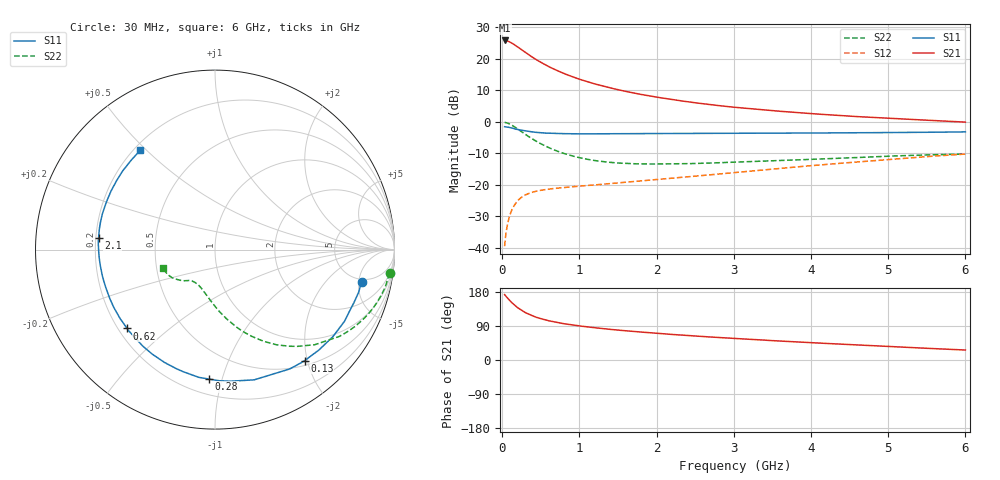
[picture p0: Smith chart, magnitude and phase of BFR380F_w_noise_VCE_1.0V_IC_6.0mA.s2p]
! Infineon Technologies  Discrete & RF Semiconductors
! BFR380F
! VCE =  1.0 V,  IC =  6.0 mA
! Common Emitter S-Parameters:  Nov 2015
# GHz  S  MA  R  50
!  f  S11  S21  S12  S22
! GHz  MAG  ANG  MAG  ANG  MAG  ANG  MAG  ANG
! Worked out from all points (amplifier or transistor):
!   206 points, 30 MHz to 6 GHz, reference 50 ohm
!   highest |S21| = 25.8 dB at 30 MHz (marker M1)
!   |S21| within 3 dB of that: start of sweep to 253.4 MHz
!   unconditionally stable (mu >= 1): 1.987 GHz to end of sweep
!   at 200 MHz: K = 0.16, MSG = 24.4 dB, |S12| = -25.0 dB
!   at 1.56 GHz: K = 0.89, MSG = 14.6 dB, |S12| = -19.3 dB
!   at 6 GHz: K = 1.01, MAG = 4.6 dB, |S12| = -10.2 dB
!   lowest NFmin = 0.78 dB at 900 MHz
!   S11 on the Smith chart (normalised r, x): 30 MHz: 4.57, -5.46; 130 MHz: 0.58, -1.95; 280 MHz: 0.30, -0.91; 620 MHz: 0.24, -0.36; 2.1 GHz: 0.21, +0.05; 6 GHz: 0.22, +0.48
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0.03  0.8363 -12.4  19.59 172.6  0.0106 83.4  0.9816 -7.7
0.05  0.8285 -21.0  19.52 167.2  0.0178 79.8  0.9704 -12.7
0.07  0.8247 -29.0  19.16 162.7  0.0243 76.0  0.9514 -17.6
0.1  0.8089 -40.4  18.45 156.2  0.0334 70.1  0.9162 -24.5
0.13  0.7954 -51.1  17.57 150.2  0.0415 65.2  0.8745 -30.9
0.15  0.7844 -58.0  17.02 146.3  0.0462 62.3  0.8451 -34.9
0.2  0.7577 -73.3  15.44 137.8  0.0561 55.7  0.7684 -43.6
0.28  0.722 -92.7  13.14 127.4  0.0669 48.2  0.6559 -54.6
0.3  0.7175 -97.2  12.63 124.9  0.0692 46.7  0.6305 -57.2
0.36  0.6977 -107.9  11.22 119.3  0.0742 43.0  0.564 -63.3
0.45  0.6791 -121.1  9.542 112.0  0.0797 39.4  0.4834 -71.1
0.5  0.6714 -126.9  8.775 108.9  0.0819 38.0  0.4471 -74.6
0.62  0.658 -138.1  7.341 102.8  0.086 36.1  0.3807 -81.6
0.8  0.6494 -150.3  5.834 95.7  0.0906 35.3  0.3134 -90.4
1.04  0.6441 -161.1  4.579 88.9  0.0961 36.3  0.2629 -99.2
1.42  0.6454 -172.8  3.406 80.4  0.1049 39.5  0.2258 -110.5
2.02  0.652 175.4  2.443 70.2  0.1214 45.1  0.2141 -121.5
2.1  0.6521 174.1  2.36 69.0  0.1239 45.8  0.2144 -122.5
3.1  0.6582 161.3  1.664 55.9  0.1602 52.6  0.2309 -131.7
4.1  0.6654 149.4  1.324 44.7  0.2061 55.2  0.2561 -137.9
5.1  0.6765 138.4  1.122 34.9  0.2578 54.9  0.2876 -147.6
6  0.6924 127.1  0.989 26.3  0.3075 52.1  0.3081 -160.5
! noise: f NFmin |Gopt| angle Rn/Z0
0.45  0.8  0.21  49  0.1
0.9  0.78  0.23  98  0.12
1.8  1.15  0.36  153  0.08
1.9  1.26  0.37  155  0.08
2.4  1.43  0.4  172  0.08
3.5  2.15  0.49  -163  0.1
